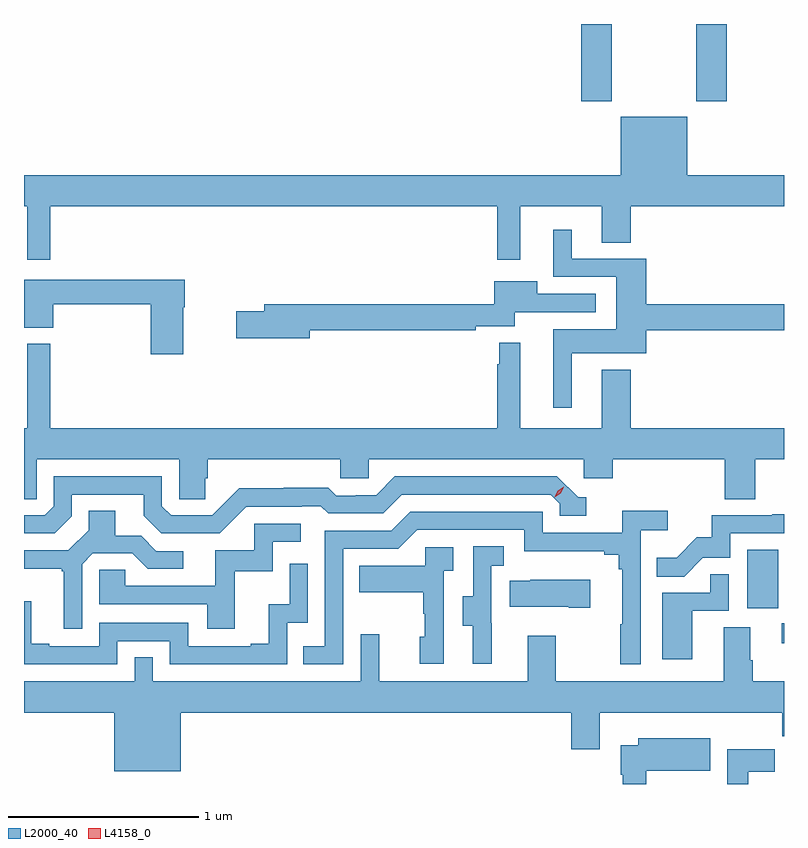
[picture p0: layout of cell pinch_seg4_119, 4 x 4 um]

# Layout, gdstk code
import gdstk
lib = gdstk.Library(unit=1e-6, precision=1e-09)
def R(c, l, rs):  # rectangles x0, y0, x1, y1
    for r in rs: c.add(gdstk.rectangle(r[:2], r[2:], *l))
def P(c, l, *ps):  # polygons
    for p in ps: c.add(gdstk.Polygon(p, *l))
L2000_40 = (2000, 40)
L4158_0 = (4158, 0)

pinch_seg4_119 = lib.new_cell('pinch_seg4_119')
R(pinch_seg4_119, L2000_40, [(1039.779,790.524,1039.792,790.629), (1039.598,790.71,1039.762,791.017), (1038.725,793.377,1038.885,793.784), (1039.33,793.377,1039.49,793.784)])
P(pinch_seg4_119, L2000_40, [(1035.93,792.824),(1038.282,792.824),(1038.282,792.543),(1038.403,792.543),(1038.403,792.824),(1038.833,792.824),(1038.833,792.634),(1038.986,792.634),(1038.986,792.824),(1039.792,792.824),(1039.792,792.988),(1039.282,792.988),(1039.282,793.297),(1038.932,793.297),(1038.932,792.988),(1035.792,792.988),(1035.792,792.824),(1035.809,792.824),(1035.809,792.543),(1035.93,792.543)],
  [(1038.676,792.05),(1039.067,792.05),(1039.067,792.172),(1039.792,792.172),(1039.792,792.308),(1039.067,792.308),(1039.067,792.549),(1038.676,792.549),(1038.676,792.7),(1038.578,792.7),(1038.578,792.453),(1038.908,792.453),(1038.908,792.178),(1038.578,792.178),(1038.578,791.763),(1038.676,791.763)],
  [(1036.63,792.293),(1036.638,792.293),(1036.638,792.439),(1035.792,792.439),(1035.792,792.185),(1035.946,792.185),(1035.946,792.31),(1036.46,792.31),(1036.46,792.045),(1036.63,792.045)],
  [(1037.296,792.172),(1038.17,792.172),(1038.17,792.192),(1038.376,792.192),(1038.376,792.267),(1038.802,792.267),(1038.802,792.363),(1038.493,792.363),(1038.493,792.43),(1038.266,792.43),(1038.266,792.308),(1037.057,792.308),(1037.057,792.272),(1036.908,792.272),(1036.908,792.13),(1037.296,792.13)],
  [(1035.858,791.492),(1036.608,791.492),(1036.608,791.284),(1036.745,791.284),(1036.745,791.394),(1036.76,791.394),(1036.76,791.492),(1037.457,791.492),(1037.457,791.394),(1037.607,791.394),(1037.607,791.492),(1038.738,791.492),(1038.738,791.394),(1038.89,791.394),(1038.89,791.492),(1039.481,791.492),(1039.481,791.284),(1039.641,791.284),(1039.641,791.492),(1039.792,791.492),(1039.792,791.656),(1038.986,791.656),(1038.986,791.965),(1038.833,791.965),(1038.833,791.656),(1038.403,791.656),(1038.403,792.106),(1038.292,792.106),(1038.292,791.993),(1038.282,791.993),(1038.282,791.656),(1035.93,791.656),(1035.93,792.1),(1035.809,792.1),(1035.809,791.656),(1035.792,791.656),(1035.792,791.284),(1035.858,791.284)],
  [(1036.044,791.193),(1036.044,791.307),(1036.421,791.307),(1036.421,791.197),(1036.515,791.103),(1036.821,791.103),(1036.962,791.244),(1037.255,791.244),(1037.255,791.247),(1037.354,791.247),(1037.393,791.208),(1037.682,791.208),(1037.781,791.307),(1038.564,791.307),(1038.612,791.259),(1038.612,791.196),(1038.751,791.196),(1038.751,791.292),(1038.708,791.292),(1038.597,791.403),(1037.744,791.403),(1037.645,791.304),(1037.538,791.304),(1037.538,791.301),(1037.435,791.301),(1037.393,791.344),(1037.16,791.344),(1037.16,791.341),(1036.924,791.341),(1036.782,791.199),(1036.566,791.199),(1036.518,791.247),(1036.518,791.403),(1035.948,791.403),(1035.948,791.247),(1035.9,791.199),(1035.792,791.199),(1035.792,791.103),(1035.954,791.103)],
  [(1036.098,790.941),(1036.155,790.998),(1036.361,790.998),(1036.442,790.917),(1036.63,790.917),(1036.63,791.01),(1036.488,791.01),(1036.408,791.09),(1036.273,791.09),(1036.273,791.222),(1036.133,791.222),(1036.133,791.12),(1036.026,791.013),(1035.792,791.013),(1035.792,790.916),(1035.99,790.916),(1035.99,790.905),(1036.001,790.905),(1036.001,790.602),(1036.098,790.602)],
  [(1037.472,791.022),(1037.763,791.022),(1037.862,791.121),(1038.426,791.121),(1038.426,791.009),(1038.845,791.009),(1038.845,790.99),(1038.922,790.99),(1038.922,790.913),(1038.941,790.913),(1038.941,790.625),(1038.93,790.625),(1038.93,790.413),(1039.038,790.413),(1039.038,791.12),(1039.18,791.12),(1039.18,791.222),(1038.941,791.222),(1038.941,791.106),(1038.522,791.106),(1038.522,791.217),(1037.825,791.217),(1037.726,791.118),(1037.376,791.118),(1037.376,790.509),(1037.263,790.509),(1037.263,790.413),(1037.472,790.413)],
  [(1039.365,790.974),(1039.509,790.974),(1039.509,791.103),(1039.792,791.103),(1039.792,791.204),(1039.729,791.204),(1039.729,791.199),(1039.411,791.199),(1039.411,791.082),(1039.334,791.082),(1039.227,790.975),(1039.123,790.975),(1039.123,790.876),(1039.267,790.876)],
  [(1036.901,790.905),(1037.1,790.905),(1037.1,791.058),(1037.248,791.058),(1037.248,791.154),(1037.004,791.154),(1037.004,791.013),(1036.799,791.013),(1036.799,790.827),(1036.325,790.827),(1036.325,790.911),(1036.188,790.911),(1036.188,790.731),(1036.757,790.731),(1036.757,790.602),(1036.901,790.602)],
  [(1038.254,790.629),(1038.252,790.629),(1038.252,790.933),(1038.316,790.933),(1038.316,791.036),(1038.156,791.036),(1038.156,790.773),(1038.101,790.773),(1038.101,790.618),(1038.155,790.618),(1038.155,790.416),(1038.254,790.416)],
  [(1038,790.907),(1038.052,790.907),(1038.052,791.031),(1037.904,791.031),(1037.904,790.933),(1037.557,790.933),(1037.557,790.793),(1037.892,790.793),(1037.892,790.679),(1037.902,790.679),(1037.902,790.56),(1037.876,790.56),(1037.876,790.416),(1038,790.416)],
  [(1036.284,790.536),(1036.56,790.536),(1036.56,790.413),(1037.178,790.413),(1037.178,790.632),(1037.286,790.632),(1037.286,790.942),(1037.19,790.942),(1037.19,790.73),(1037.081,790.73),(1037.081,790.522),(1036.985,790.522),(1036.985,790.509),(1036.656,790.509),(1036.656,790.632),(1036.188,790.632),(1036.188,790.509),(1035.925,790.509),(1035.925,790.522),(1035.829,790.522),(1035.829,790.747),(1035.792,790.747),(1035.792,790.413),(1036.284,790.413)],
  [(1039.309,790.695),(1039.5,790.695),(1039.5,790.889),(1039.405,790.889),(1039.405,790.791),(1039.151,790.791),(1039.151,790.44),(1039.309,790.44)],
  [(1038.772,790.858),(1038.457,790.858),(1038.457,790.855),(1038.349,790.855),(1038.349,790.718),(1038.659,790.718),(1038.659,790.711),(1038.772,790.711)],
  [(1036.618,790.16),(1038.671,790.16),(1038.671,789.966),(1038.823,789.966),(1038.823,790.16),(1039.783,790.16),(1039.783,790.036),(1039.792,790.036),(1039.792,790.324),(1039.628,790.324),(1039.628,790.436),(1039.615,790.436),(1039.615,790.61),(1039.475,790.61),(1039.475,790.324),(1038.591,790.324),(1038.591,790.564),(1038.443,790.564),(1038.443,790.324),(1037.663,790.324),(1037.663,790.573),(1037.565,790.573),(1037.565,790.324),(1036.47,790.324),(1036.47,790.451),(1036.374,790.451),(1036.374,790.324),(1035.792,790.324),(1035.792,790.16),(1036.268,790.16),(1036.268,789.851),(1036.618,789.851)],
  [(1039.066,789.854),(1039.405,789.854),(1039.405,790.024),(1039.025,790.024),(1039.025,789.988),(1038.932,789.988),(1038.932,789.834),(1038.944,789.834),(1038.944,789.784),(1039.066,789.784)],
  [(1039.603,789.848),(1039.742,789.848),(1039.742,789.966),(1039.493,789.966),(1039.493,789.784),(1039.603,789.784)])
P(pinch_seg4_119, L4158_0, [(1038.586,791.294),(1038.586,791.294),(1038.602,791.328),(1038.633,791.348),(1038.633,791.348),(1038.633,791.348),(1038.617,791.314),(1038.586,791.294)])

lib.write_gds('pinch_seg4_119.gds')
